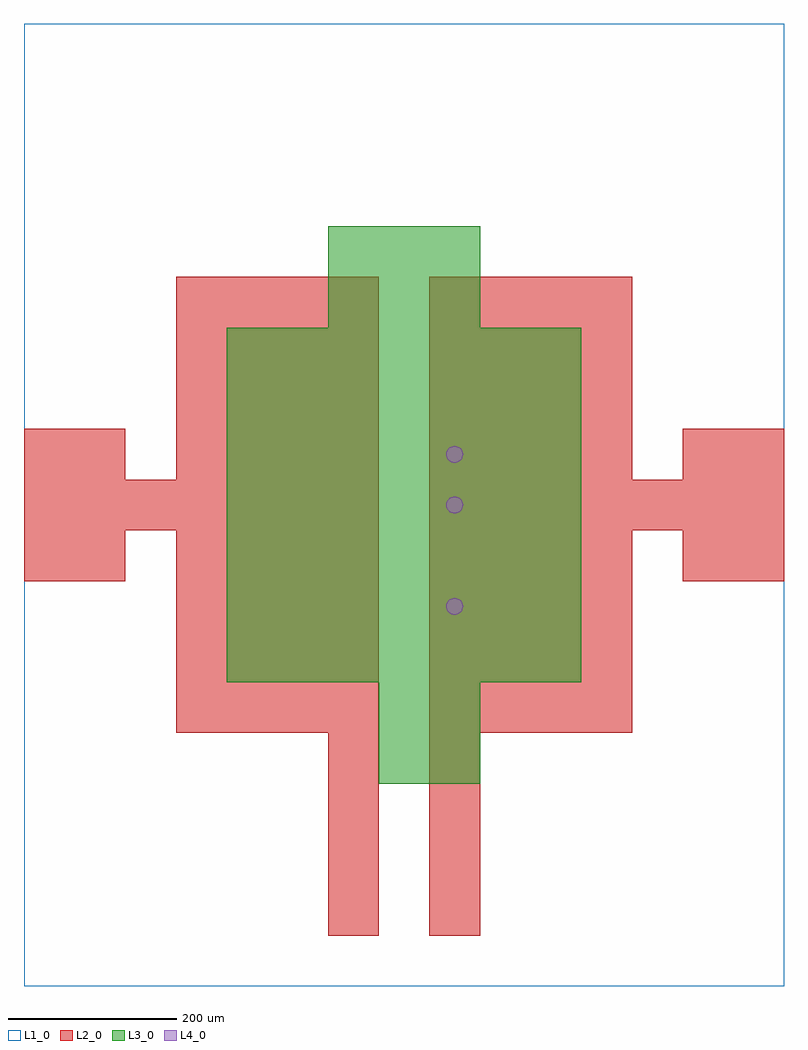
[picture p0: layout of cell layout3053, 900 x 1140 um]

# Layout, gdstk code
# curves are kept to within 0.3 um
import gdstk
lib = gdstk.Library(unit=1e-6, precision=1e-09)
def R(c, l, rs):  # rectangles x0, y0, x1, y1
    for r in rs: c.add(gdstk.rectangle(r[:2], r[2:], *l))
def A(c, l, x, y, w, h, nx, ny, dx, dy):  # array of equal rectangles
    R(c, l, [(x+i*dx, y+j*dy, x+i*dx+w, y+j*dy+h) for i in range(nx) for j in range(ny)])
def P(c, l, *ps):  # polygons
    for p in ps: c.add(gdstk.Polygon(p, *l))
L1_0 = (1, 0)
L2_0 = (2, 0)
L3_0 = (3, 0)
L4_0 = (4, 0)

layout3053 = lib.new_cell('layout3053')
R(layout3053, L1_0, [(0,0,900,1140)])
A(layout3053, L2_0, 360, 60, 60, 60, 1, 4, 0, 60)
A(layout3053, L2_0, 480, 60, 60, 60, 1, 4, 0, 60)
A(layout3053, L2_0, 180, 300, 60, 60, 4, 4, 60, 60)
A(layout3053, L2_0, 480, 300, 60, 60, 4, 4, 60, 60)
A(layout3053, L2_0, 0, 540, 60, 60, 7, 1, 60, 0)
A(layout3053, L2_0, 480, 540, 60, 60, 7, 1, 60, 0)
A(layout3053, L2_0, 180, 600, 60, 60, 4, 4, 60, 60)
A(layout3053, L2_0, 480, 600, 60, 60, 4, 4, 60, 60)
R(layout3053, L2_0, [(0,480,60,540), (60,480,120,540), (780,480,840,540), (840,480,900,540), (0,600,60,660), (60,600,120,660), (780,600,840,660), (840,600,900,660)])
A(layout3053, L3_0, 240, 360, 60, 60, 7, 7, 60, 60)
A(layout3053, L3_0, 360, 780, 60, 60, 3, 2, 60, 60)
R(layout3053, L3_0, [(420,240,480,300), (480,240,540,300), (420,300,480,360), (480,300,540,360)])
P(layout3053, L4_0, [(520,450),(519.239,453.827),(517.071,457.071),(513.827,459.239),(510,460),(506.173,459.239),(502.929,457.071),(500.761,453.827),(500,450),(500.761,446.173),(502.929,442.929),(506.173,440.761),(510,440),(513.827,440.761),(517.071,442.929),(519.239,446.173)],
  [(520,570),(519.239,573.827),(517.071,577.071),(513.827,579.239),(510,580),(506.173,579.239),(502.929,577.071),(500.761,573.827),(500,570),(500.761,566.173),(502.929,562.929),(506.173,560.761),(510,560),(513.827,560.761),(517.071,562.929),(519.239,566.173)],
  [(520,630),(519.239,633.827),(517.071,637.071),(513.827,639.239),(510,640),(506.173,639.239),(502.929,637.071),(500.761,633.827),(500,630),(500.761,626.173),(502.929,622.929),(506.173,620.761),(510,620),(513.827,620.761),(517.071,622.929),(519.239,626.173)])

lib.write_gds('layout3053.gds')
